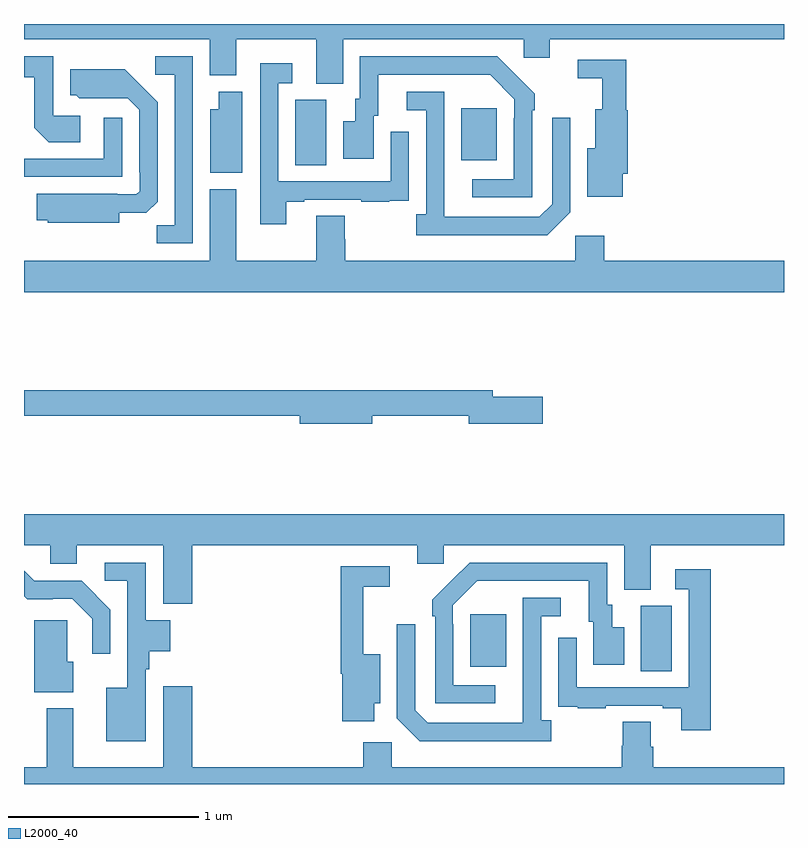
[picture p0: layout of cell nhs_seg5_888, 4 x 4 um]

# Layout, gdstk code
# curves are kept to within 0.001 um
import gdstk
lib = gdstk.Library(unit=1e-6, precision=1e-09)
def R(c, l, rs):  # rectangles x0, y0, x1, y1
    for r in rs: c.add(gdstk.rectangle(r[:2], r[2:], *l))
def P(c, l, *ps):  # polygons
    for p in ps: c.add(gdstk.Polygon(p, *l))
L2000_40 = (2000, 40)

nhs_seg5_888 = lib.new_cell('nhs_seg5_888')
R(nhs_seg5_888, L2000_40, [(170.246,893.392,170.41,893.736), (169.349,893.417,169.537,893.692), (168.428,896.056,168.592,896.4), (169.301,896.081,169.489,896.356)])
P(nhs_seg5_888, L2000_40, [(168.679,896.72),(169.629,896.72),(169.629,896.622),(169.768,896.622),(169.768,896.72),(171,896.72),(171,896.799),(167,896.799),(167,896.72),(167.978,896.72),(167.978,896.528),(168.118,896.528),(168.118,896.72),(168.539,896.72),(168.539,896.485),(168.679,896.485)],
  [(167.889,896.628),(167.691,896.628),(167.691,896.532),(167.793,896.532),(167.793,895.739),(167.698,895.739),(167.698,895.644),(167.889,895.644)],
  [(169.674,896.345),(169.689,896.345),(169.689,896.433),(169.492,896.628),(168.768,896.628),(168.768,896.406),(168.743,896.406),(168.743,896.287),(168.68,896.287),(168.68,896.091),(168.841,896.091),(168.841,896.316),(168.865,896.316),(168.865,896.532),(169.453,896.532),(169.581,896.403),(169.581,896.303),(169.578,896.303),(169.578,895.983),(169.359,895.983),(169.359,895.887),(169.674,895.887)],
  [(167.296,896.316),(167.154,896.316),(167.154,896.628),(167,896.628),(167,896.52),(167.055,896.52),(167.055,896.252),(167.131,896.176),(167.296,896.176)],
  [(170.152,896.01),(170.177,896.01),(170.177,896.346),(170.171,896.346),(170.171,896.61),(169.914,896.61),(169.914,896.513),(170.043,896.513),(170.043,896.35),(170.006,896.35),(170.006,896.146),(169.964,896.146),(169.964,895.889),(170.152,895.889)],
  [(168.379,895.863),(168.475,895.863),(168.475,895.875),(168.775,895.875),(168.775,895.863),(168.923,895.863),(168.923,895.869),(169.025,895.869),(169.025,895.978),(169.026,895.978),(169.026,896.233),(168.93,896.233),(168.93,895.971),(168.339,895.971),(168.339,896.487),(168.412,896.487),(168.412,896.593),(168.243,896.593),(168.243,895.746),(168.379,895.746)],
  [(167.5,895.805),(167.644,895.805),(167.703,895.864),(167.703,896.386),(167.531,896.56),(167.243,896.56),(167.243,896.424),(167.274,896.424),(167.29,896.408),(167.547,896.409),(167.607,896.349),(167.607,896.02),(167.61,896.02),(167.61,895.92),(167.592,895.902),(167.492,895.902),(167.492,895.906),(167.068,895.906),(167.068,895.766),(167.124,895.766),(167.124,895.754),(167.5,895.754)],
  [(168.148,896.443),(168.026,896.443),(168.026,896.35),(167.981,896.35),(167.981,896.015),(168.148,896.015)],
  [(169.875,895.809),(169.875,896.305),(169.779,896.305),(169.779,895.851),(169.713,895.785),(169.213,895.785),(169.212,896.442),(169.014,896.442),(169.014,896.346),(169.116,896.346),(169.116,895.798),(169.065,895.798),(169.065,895.688),(169.754,895.688)],
  [(167.517,896.305),(167.421,896.305),(167.421,896.091),(167,896.091),(167,895.995),(167.517,895.995)],
  [(171,895.552),(170.054,895.552),(170.054,895.684),(169.902,895.684),(169.902,895.552),(168.692,895.552),(168.692,895.665),(168.687,895.665),(168.687,895.79),(168.539,895.79),(168.539,895.552),(168.118,895.552),(168.118,895.93),(167.978,895.93),(167.978,895.552),(167,895.552),(167,895.388),(171,895.388)],
  [(168.832,894.736),(169.34,894.736),(169.34,894.694),(169.729,894.694),(169.729,894.836),(169.468,894.836),(169.468,894.872),(167,894.872),(167,894.736),(168.452,894.736),(168.452,894.694),(168.832,894.694)],
  [(167.885,894.056),(169.07,894.056),(169.07,893.958),(169.209,893.958),(169.209,894.056),(170.159,894.056),(170.159,893.821),(170.299,893.821),(170.299,894.056),(171,894.056),(171,894.22),(167,894.22),(167,894.056),(167.138,894.056),(167.138,893.957),(167.278,893.957),(167.278,894.056),(167.732,894.056),(167.732,893.747),(167.885,893.747)],
  [(169.48,893.319),(169.26,893.319),(169.26,893.639),(169.257,893.639),(169.257,893.739),(169.386,893.868),(169.973,893.868),(169.973,893.652),(169.997,893.652),(169.997,893.427),(170.158,893.427),(170.158,893.623),(170.095,893.623),(170.095,893.742),(170.07,893.742),(170.07,893.964),(169.346,893.964),(169.149,893.769),(169.149,893.681),(169.164,893.681),(169.164,893.223),(169.48,893.223)],
  [(167.64,893.402),(167.66,893.402),(167.66,893.498),(167.77,893.498),(167.77,893.662),(167.64,893.662),(167.64,893.964),(167.424,893.964),(167.424,893.868),(167.544,893.868),(167.544,893.305),(167.432,893.305),(167.432,893.024),(167.64,893.024)],
  [(168.844,893.225),(168.874,893.225),(168.874,893.482),(168.785,893.482),(168.785,893.838),(168.925,893.838),(168.925,893.946),(168.667,893.946),(168.667,893.378),(168.674,893.378),(168.674,893.13),(168.844,893.13)],
  [(170.615,893.929),(170.427,893.929),(170.427,893.823),(170.499,893.823),(170.499,893.307),(169.908,893.307),(169.908,893.569),(169.812,893.569),(169.812,893.314),(169.813,893.314),(169.813,893.205),(169.915,893.205),(169.915,893.199),(170.063,893.199),(170.063,893.211),(170.363,893.211),(170.363,893.199),(170.459,893.199),(170.459,893.082),(170.615,893.082)],
  [(167.454,893.716),(167.304,893.868),(167.053,893.868),(167,893.921),(167,893.788),(167.016,893.772),(167.152,893.772),(167.152,893.774),(167.254,893.774),(167.36,893.669),(167.36,893.484),(167.454,893.484)],
  [(169.774,893.134),(169.722,893.134),(169.722,893.682),(169.825,893.682),(169.825,893.778),(169.626,893.778),(169.625,893.121),(169.125,893.121),(169.059,893.187),(169.059,893.641),(168.963,893.641),(168.963,893.145),(169.084,893.024),(169.774,893.024)],
  [(167.26,893.443),(167.227,893.443),(167.227,893.661),(167.054,893.661),(167.054,893.282),(167.26,893.282)],
  [(167.26,893.197),(167.12,893.197),(167.12,892.888),(167,892.888),(167,892.799),(171,892.799),(171,892.888),(170.312,892.888),(170.312,892.994),(170.299,892.994),(170.299,893.126),(170.152,893.126),(170.152,893.001),(170.147,893.001),(170.147,892.888),(168.936,892.888),(168.936,893.02),(168.785,893.02),(168.785,892.888),(167.885,892.888),(167.885,893.314),(167.732,893.314),(167.732,892.888),(167.26,892.888)])

lib.write_gds('nhs_seg5_888.gds')
